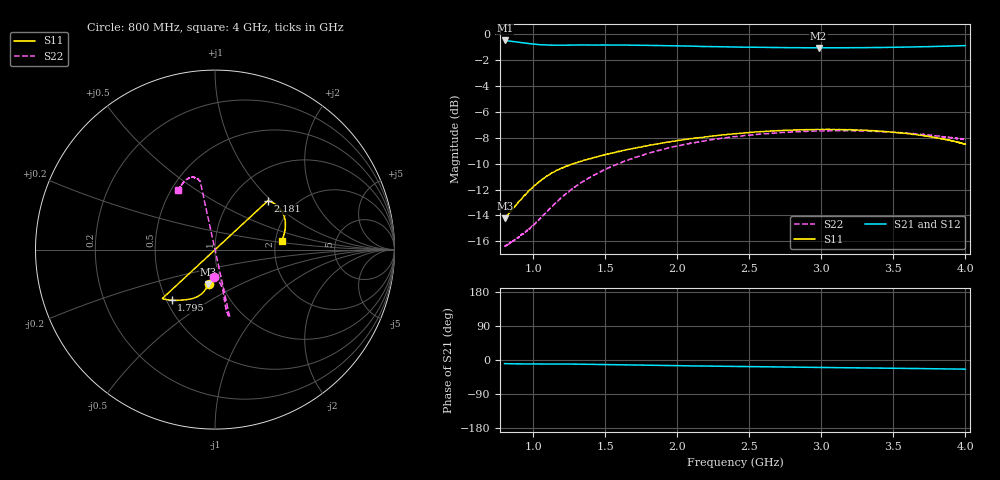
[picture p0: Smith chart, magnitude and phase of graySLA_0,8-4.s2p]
!Created with skrf (http://scikit-rf.org).
# GHz S RI R 50.0
!freq ReS11 ImS11 ReS21 ImS21 ReS12 ImS12 ReS22 ImS22
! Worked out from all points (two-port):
!   5001 points, 800 MHz to 4 GHz, reference 50 ohm
!   highest |S21| = -0.46 dB at 801.9 MHz (marker M1); lowest = -1.0 dB at 2.98 GHz (marker M2)
!   |S21| within 3 dB of the highest: start of sweep to end of sweep
!   lowest |S11| = -14.2 dB at 801.9 MHz (marker M3), VSWR 1.48, Z = 43.3 - j17.2 ohm
!   |S11| at or under -10 dB: start of sweep to 1.277 GHz
!   |S22| runs from -16.4 to -7.4 dB; largest |S21 - S12| = 0.0048
!   S11 on the Smith chart (normalised r, x): 800 MHz: 0.87, -0.35; 1.795 GHz: 0.53, -0.35; 2.181 GHz: 1.46, +0.95; 4 GHz: 2.17, +0.25
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0.8  -0.0316 -0.1928  0.9348 -0.1575  0.935 -0.1571  -0.005 -0.1523
0.80192  -0.037 -0.191  0.9348 -0.1579  0.9347 -0.1577  -3.31e-05 -0.1518
0.94016  -0.0605 -0.2315  0.9109 -0.1683  0.9106 -0.1673  0.0153 -0.1705
1.00992  -0.0784 -0.2487  0.9011 -0.1691  0.9013 -0.1671  0.0255 -0.1833
1.07392  -0.0965 -0.2609  0.8962 -0.1681  0.8958 -0.1648  0.0339 -0.1984
1.14176  -0.1161 -0.2697  0.8934 -0.1685  0.8934 -0.1659  0.0404 -0.216
1.21856  -0.137 -0.2758  0.893 -0.1689  0.8932 -0.1685  0.0452 -0.2358
1.33376  -0.1638 -0.2787  0.8934 -0.1756  0.8936 -0.1755  0.05 -0.2629
1.55648  -0.2051 -0.282  0.8889 -0.1945  0.8897 -0.1925  0.0568 -0.3058
1.79456  -0.2418 -0.2813  0.8815 -0.2149  0.8824 -0.2133  0.0651 -0.3401
1.86688  -0.2519 -0.2812  0.8785 -0.2215  0.8798 -0.2199  0.068 -0.3494
2.16448  -0.2919 -0.2731  0.8647 -0.2448  0.8664 -0.2443  0.0811 -0.3775
2.18112  0.2935 0.2722  0.864 -0.2457  0.8657 -0.2455  -0.0822 0.3777
2.19712  0.2963 0.2718  0.8637 -0.247  0.8651 -0.2463  -0.0826 0.3797
2.4  0.3191 0.2623  0.8553 -0.261  0.8563 -0.2606  -0.0943 0.3913
2.62848  0.3421 0.2478  0.8478 -0.2743  0.8476 -0.2738  -0.1079 0.3991
2.93376  0.368 0.2202  0.8379 -0.2946  0.8378 -0.2933  -0.1273 0.4028
2.98048  0.3711 0.2152  0.8363 -0.2977  0.8364 -0.2961  -0.1301 0.4033
3.21344  0.3842 0.1876  0.8316 -0.3132  0.8321 -0.3106  -0.1453 0.399
3.46688  0.392 0.1518  0.8284 -0.3299  0.8276 -0.3286  -0.1621 0.3866
3.73504  0.3897 0.1063  0.827 -0.348  0.8256 -0.3486  -0.1824 0.3658
4  0.3729 0.0499  0.8263 -0.3706  0.826 -0.3703  -0.2087 0.333
